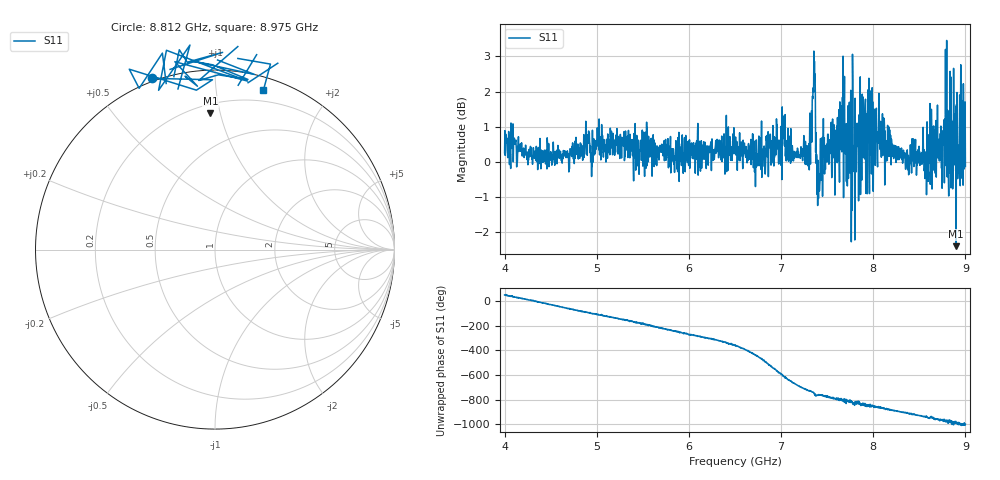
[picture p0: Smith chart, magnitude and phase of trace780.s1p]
! Created with skrf 1.8.0 (http://scikit-rf.org).
# Hz S RI R 50.0
!freq ReS11 ImS11
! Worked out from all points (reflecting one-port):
!   1601 points, 4 GHz to 9 GHz, reference 50 ohm
!   lowest |S11| = -2.4 dB at 8.9 GHz (marker M1), VSWR 7.29, Z = 13 + j46.6 ohm
!   phase of S11 starts at 49 deg and turns -1048 deg over the sweep
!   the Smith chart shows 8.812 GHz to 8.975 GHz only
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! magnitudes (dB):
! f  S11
! 4 GHz  0.3
! 4.625 GHz  0.0
! 5.25 GHz  0.1
! 5.875 GHz  0.3
! 6.5 GHz  0.2
! 6.725 GHz  0.2
! 7.025 GHz  1.3
! 7.125 GHz  0.3
! 7.294 GHz  -0.1
! 7.347 GHz  2.1
! 7.369 GHz  2.5
! 7.4 GHz  0.0
! 7.412 GHz  -0.3
! 7.481 GHz  -0.2
! 7.609 GHz  0.0
! 7.662 GHz  0.3
! 7.75 GHz  1.0
! 7.784 GHz  0.3
! 7.962 GHz  2.0
! 7.981 GHz  -0.3
! 8.088 GHz  0.1
! 8.375 GHz  -0.2
! 8.578 GHz  -0.9
! 8.775 GHz  1.2
! 8.841 GHz  2.4
! 8.9 GHz  -2.4
! 8.959 GHz  1.8
! 9 GHz  -0.1
